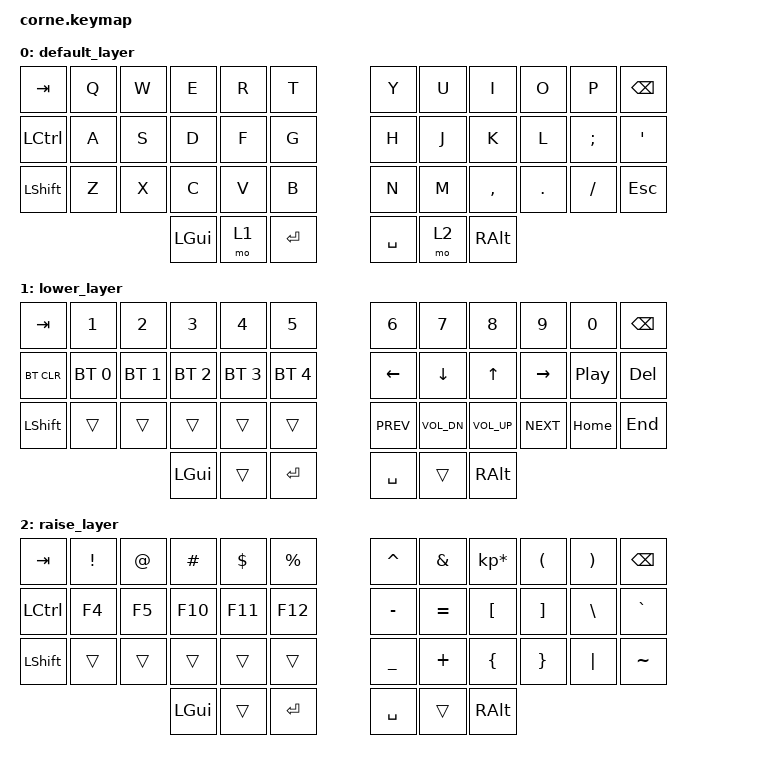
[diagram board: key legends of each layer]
/*
 * Copyright (c) 2020 The ZMK Contributors
 *
 * SPDX-License-Identifier: MIT
 */

#include <behaviors.dtsi>
#include <dt-bindings/zmk/bt.h>
#include <dt-bindings/zmk/keys.h>

/ {
    combos {
        compatible = "zmk,combos";

        OneHandLayer1 {
            bindings = <&tog 1>;
            key-positions = <40 41>;
            layers = <0 1>;
        };

        RightHandEnter {
            bindings = <&kp ENTER>;
            key-positions = <34 35>;
        };
    };

    keymap {
        compatible = "zmk,keymap";

        default_layer {
            // -----------------------------------------------------------------------------------------
            // |  TAB |  Q  |  W  |  E  |  R  |  T  |   |  Y  |  U   |  I  |  O  |  P  | BKSP |
            // | CTRL |  A  |  S  |  D  |  F  |  G  |   |  H  |  J   |  K  |  L  |  ;  |  '   |
            // | SHFT |  Z  |  X  |  C  |  V  |  B  |   |  N  |  M   |  ,  |  .  |  /  | ESC  |
            //                    | GUI | LWR | ENT |   | SPC | RSE  | ALT |

            bindings = <
&kp TAB    &kp Q  &kp W  &kp E     &kp R  &kp T      &kp Y      &kp U  &kp I      &kp O    &kp P     &kp BSPC
&kp LCTRL  &kp A  &kp S  &kp D     &kp F  &kp G      &kp H      &kp J  &kp K      &kp L    &kp SEMI  &kp SQT
&kp LSHFT  &kp Z  &kp X  &kp C     &kp V  &kp B      &kp N      &kp M  &kp COMMA  &kp DOT  &kp FSLH  &kp ESC
                         &kp LGUI  &mo 1  &kp RET    &kp SPACE  &mo 2  &kp RALT
            >;
        };

        lower_layer {
            // -----------------------------------------------------------------------------------------
            // |  TAB |  1  |  2  |  3  |  4  |  5  |   |  6  |  7  |  8  |  9  |  0  | BKSP |
            // | BTCLR| BT1 | BT2 | BT3 | BT4 | BT5 |   | LFT | DWN |  UP | RGT | PLPA| DEL  |
            // | SHFT |     |     |     |     |     |   | PREV| VOL-| VOL+| NEXT| HOME| END  |
            //                    | GUI |     | ENT |   | SPC |     | ALT |

            bindings = <
&kp TAB     &kp N1        &kp N2        &kp N3        &kp N4        &kp N5          &kp N6      &kp N7        &kp N8        &kp N9      &kp N0    &kp BSPC
&bt BT_CLR  &bt BT_SEL 0  &bt BT_SEL 1  &bt BT_SEL 2  &bt BT_SEL 3  &bt BT_SEL 4    &kp LEFT    &kp DOWN      &kp UP        &kp RIGHT   &kp C_PP  &kp DEL
&kp LSHFT   &trans        &trans        &trans        &trans        &trans          &kp C_PREV  &kp C_VOL_DN  &kp C_VOL_UP  &kp C_NEXT  &kp HOME  &kp END
                                        &kp LGUI      &trans        &kp RET         &kp SPACE   &trans        &kp RALT
            >;
        };

        raise_layer {
            // -----------------------------------------------------------------------------------------
            // |  TAB |  !  |  @  |  #  |  $  |  %  |   |  ^  |  &  |  *  |  (  |  )  | BKSP |
            // | CTRL |  F4 |  F5 |  F10|  F11|  F12|   |  -  |  =  |  [  |  ]  |  \  |  `   |
            // | SHFT |     |     |     |     |     |   |  _  |  +  |  {  |  }  | "|" |  ~   |
            //                    | GUI |     | ENT |   | SPC |     | ALT |

            bindings = <
&kp TAB    &kp EXCL  &kp AT  &kp HASH  &kp DLLR  &kp PRCNT    &kp CARET  &kp AMPS   &kp KP_MULTIPLY  &kp LPAR  &kp RPAR  &kp BSPC
&kp LCTRL  &kp F4    &kp F5  &kp F10   &kp F11   &kp F12      &kp MINUS  &kp EQUAL  &kp LBKT         &kp RBKT  &kp BSLH  &kp GRAVE
&kp LSHFT  &trans    &trans  &trans    &trans    &trans       &kp UNDER  &kp PLUS   &kp LBRC         &kp RBRC  &kp PIPE  &kp TILDE
                             &kp LGUI  &trans    &kp RET      &kp SPACE  &trans     &kp RALT
            >;
        };
    };
};
